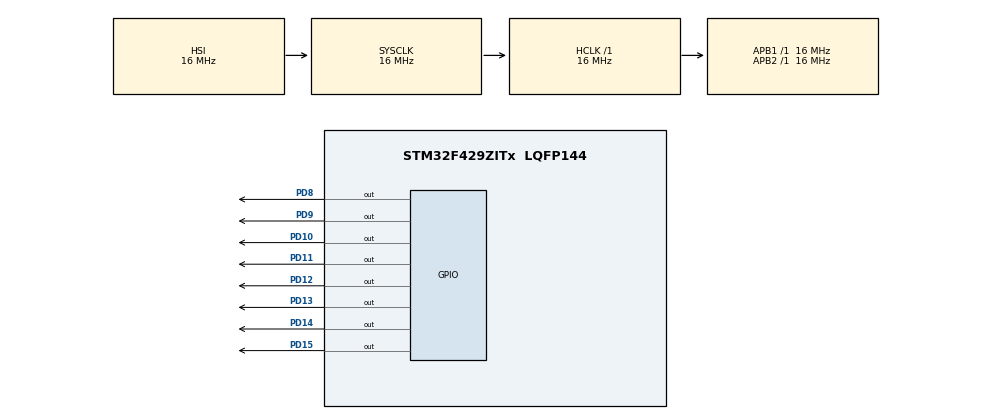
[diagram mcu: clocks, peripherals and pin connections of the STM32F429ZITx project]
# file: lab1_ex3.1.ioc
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Mcu.Family=STM32F4
Mcu.Name=STM32F429ZITx
Mcu.Package=LQFP144
NVIC.PriorityGroup=NVIC_PRIORITYGROUP_4
PD10.Signal=GPIO_Output
PD11.Signal=GPIO_Output
PD12.Signal=GPIO_Output
PD13.Signal=GPIO_Output
PD14.Signal=GPIO_Output
PD15.Signal=GPIO_Output
PD8.Signal=GPIO_Output
PD9.Signal=GPIO_Output
ProjectManager.HeapSize=0x200
ProjectManager.StackSize=0x400
ProjectManager.TargetToolchain=STM32CubeIDE
RCC.AHBFreq_Value=16000000
RCC.APB1Freq_Value=16000000
RCC.APB2Freq_Value=16000000
RCC.CortexFreq_Value=16000000
RCC.HSE_VALUE=25000000
RCC.HSI_VALUE=16000000
RCC.LSE_VALUE=32768
RCC.SYSCLKFreq_VALUE=16000000
RCC.VCOOutputFreq_Value=192000000
board=custom

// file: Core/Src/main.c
/* USER CODE BEGIN Header */
/**
  ******************************************************************************
  * @file           : main.c
  * @brief          : Main program body
  ******************************************************************************
  * @attention
  *
  * Copyright (c) 2026 STMicroelectronics.
  * All rights reserved.
  *
  * This software is licensed under terms that can be found in the LICENSE file
  * in the root directory of this software component.
  * If no LICENSE file comes with this software, it is provided AS-IS.
  *
  ******************************************************************************
  */
/* USER CODE END Header */
#include "main.h"

/* USER CODE BEGIN PV */
uint8_t LED_Value = 0x00;

int effect_mode = 1;
int cycle_count = 0;
int step_count = 0;
int spot_dir = 0;
int spot_index = 0;
/* USER CODE END PV */

void SystemClock_Config(void);
static void MX_GPIO_Init(void);

/* USER CODE BEGIN 0 */
void DisplayLEDs(int mode)
{
    if (mode == 1)  // Running spot L
    {
        LED_Value = (0x01 << step_count);   // bit0 → bit7
        step_count++;
        if (step_count >= 8) {
            step_count = 0;
            cycle_count++;
        }
    }
    else if (mode == 2)  // Running spot R
    {
        LED_Value = (0x80 >> step_count);   // bit7 → bit0
        step_count++;
        if (step_count >= 8) {
            step_count = 0;
            cycle_count++;
        }
    }
    else if (mode == 3)  // Flash:
    {
        if (step_count % 2 == 0)
            LED_Value = 0xFF;
        else
            LED_Value = 0x00;
        step_count++;
        if (step_count >= 2) {
            step_count = 0;
            cycle_count++;
        }
    }
    else if (mode == 4)  // Spot Bumber
    {
        if (spot_dir == 0) {
            LED_Value = (0x80 >> spot_index) | (0x01 << spot_index);
            spot_index++;
            if (spot_index >= 4) {
                spot_dir = 1;
                spot_index = 3;
            }
        } else {
            LED_Value = (0x80 >> spot_index) | (0x01 << spot_index);
            spot_index--;
            if (spot_index <= 0) {
                spot_dir = 0;
                spot_index = 0;
                cycle_count++;
            }
        }
    }

    HAL_GPIO_WritePin(GPIOD, GPIO_PIN_15, (LED_Value & 0x80) ? GPIO_PIN_SET : GPIO_PIN_RESET);
    HAL_GPIO_WritePin(GPIOD, GPIO_PIN_14, (LED_Value & 0x40) ? GPIO_PIN_SET : GPIO_PIN_RESET);
    HAL_GPIO_WritePin(GPIOD, GPIO_PIN_13, (LED_Value & 0x20) ? GPIO_PIN_SET : GPIO_PIN_RESET);
    HAL_GPIO_WritePin(GPIOD, GPIO_PIN_12, (LED_Value & 0x10) ? GPIO_PIN_SET : GPIO_PIN_RESET);
    HAL_GPIO_WritePin(GPIOD, GPIO_PIN_11, (LED_Value & 0x08) ? GPIO_PIN_SET : GPIO_PIN_RESET);
    HAL_GPIO_WritePin(GPIOD, GPIO_PIN_10, (LED_Value & 0x04) ? GPIO_PIN_SET : GPIO_PIN_RESET);
    HAL_GPIO_WritePin(GPIOD, GPIO_PIN_9,  (LED_Value & 0x02) ? GPIO_PIN_SET : GPIO_PIN_RESET);
    HAL_GPIO_WritePin(GPIOD, GPIO_PIN_8,  (LED_Value & 0x01) ? GPIO_PIN_SET : GPIO_PIN_RESET);

    if (cycle_count >= 2) {
        cycle_count = 0;
        step_count = 0;
        spot_index = 0;
        spot_dir = 0;
        effect_mode++;
        if (effect_mode > 4) effect_mode = 1;
    }
}
/* USER CODE END 0 */

int main(void)
{

  /* MCU Configuration--------------------------------------------------------*/

  /* Reset of all peripherals, Initializes the Flash interface and the Systick. */
  HAL_Init();

  /* Configure the system clock */
  SystemClock_Config();

  /* Initialize all configured peripherals */
  MX_GPIO_Init();

  /* Infinite loop */
  /* USER CODE BEGIN WHILE */
  while (1)
  {
	  DisplayLEDs(effect_mode);
	  HAL_Delay(200);
    /* USER CODE END WHILE */
  }
}

void SystemClock_Config(void)
{
  RCC_OscInitTypeDef RCC_OscInitStruct = {0};
  RCC_ClkInitTypeDef RCC_ClkInitStruct = {0};

  /** Configure the main internal regulator output voltage
  */
  __HAL_RCC_PWR_CLK_ENABLE();
  __HAL_PWR_VOLTAGESCALING_CONFIG(PWR_REGULATOR_VOLTAGE_SCALE3);

  /** Initializes the RCC Oscillators according to the specified parameters
  * in the RCC_OscInitTypeDef structure.
  */
  RCC_OscInitStruct.OscillatorType = RCC_OSCILLATORTYPE_HSI;
  RCC_OscInitStruct.HSIState = RCC_HSI_ON;
  RCC_OscInitStruct.HSICalibrationValue = RCC_HSICALIBRATION_DEFAULT;
  RCC_OscInitStruct.PLL.PLLState = RCC_PLL_NONE;
  if (HAL_RCC_OscConfig(&RCC_OscInitStruct) != HAL_OK)
  {
    Error_Handler();
  }

  /** Initializes the CPU, AHB and APB buses clocks
  */
  RCC_ClkInitStruct.ClockType = RCC_CLOCKTYPE_HCLK|RCC_CLOCKTYPE_SYSCLK
                              |RCC_CLOCKTYPE_PCLK1|RCC_CLOCKTYPE_PCLK2;
  RCC_ClkInitStruct.SYSCLKSource = RCC_SYSCLKSOURCE_HSI;
  RCC_ClkInitStruct.AHBCLKDivider = RCC_SYSCLK_DIV1;
  RCC_ClkInitStruct.APB1CLKDivider = RCC_HCLK_DIV1;
  RCC_ClkInitStruct.APB2CLKDivider = RCC_HCLK_DIV1;

  if (HAL_RCC_ClockConfig(&RCC_ClkInitStruct, FLASH_LATENCY_0) != HAL_OK)
  {
    Error_Handler();
  }
}

static void MX_GPIO_Init(void)
{
  GPIO_InitTypeDef GPIO_InitStruct = {0};

  /* GPIO Ports Clock Enable */
  __HAL_RCC_GPIOD_CLK_ENABLE();

  /*Configure GPIO pin Output Level */
  HAL_GPIO_WritePin(GPIOD, GPIO_PIN_8|GPIO_PIN_9|GPIO_PIN_10|GPIO_PIN_11
                          |GPIO_PIN_12|GPIO_PIN_13|GPIO_PIN_14|GPIO_PIN_15, GPIO_PIN_RESET);

  /*Configure GPIO pins : PD8 PD9 PD10 PD11
                           PD12 PD13 PD14 PD15 */
  GPIO_InitStruct.Pin = GPIO_PIN_8|GPIO_PIN_9|GPIO_PIN_10|GPIO_PIN_11
                          |GPIO_PIN_12|GPIO_PIN_13|GPIO_PIN_14|GPIO_PIN_15;
  GPIO_InitStruct.Mode = GPIO_MODE_OUTPUT_PP;
  GPIO_InitStruct.Pull = GPIO_NOPULL;
  GPIO_InitStruct.Speed = GPIO_SPEED_FREQ_LOW;
  HAL_GPIO_Init(GPIOD, &GPIO_InitStruct);

}

void Error_Handler(void)
{
  __disable_irq();
  while (1)
  {
  }
}
